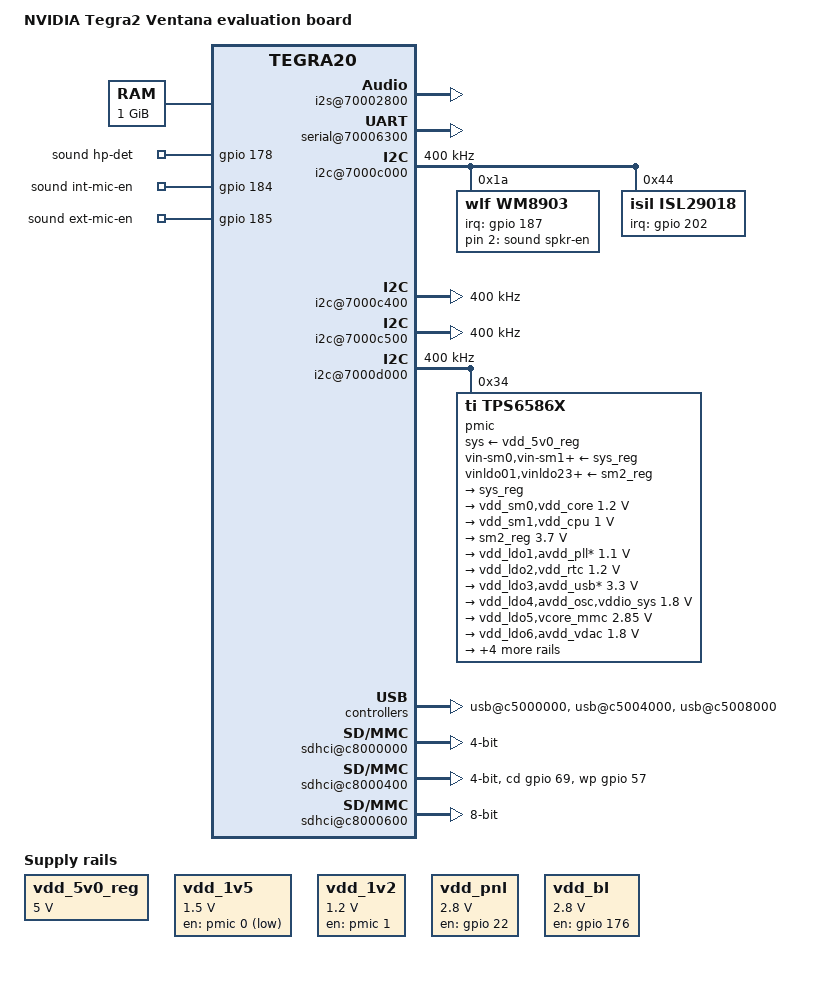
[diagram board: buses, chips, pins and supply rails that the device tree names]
/dts-v1/;

/include/ "tegra20.dtsi"

/ {
	model = "NVIDIA Tegra2 Ventana evaluation board";
	compatible = "nvidia,ventana", "nvidia,tegra20";

	memory {
		reg = <0x00000000 0x40000000>;
	};

	pinmux {
		pinctrl-names = "default";
		pinctrl-0 = <&state_default>;

		state_default: pinmux {
			ata {
				nvidia,pins = "ata";
				nvidia,function = "ide";
			};
			atb {
				nvidia,pins = "atb", "gma", "gme";
				nvidia,function = "sdio4";
			};
			atc {
				nvidia,pins = "atc";
				nvidia,function = "nand";
			};
			atd {
				nvidia,pins = "atd", "ate", "gmb", "spia",
					"spib", "spic";
				nvidia,function = "gmi";
			};
			cdev1 {
				nvidia,pins = "cdev1";
				nvidia,function = "plla_out";
			};
			cdev2 {
				nvidia,pins = "cdev2";
				nvidia,function = "pllp_out4";
			};
			crtp {
				nvidia,pins = "crtp", "lm1";
				nvidia,function = "crt";
			};
			csus {
				nvidia,pins = "csus";
				nvidia,function = "vi_sensor_clk";
			};
			dap1 {
				nvidia,pins = "dap1";
				nvidia,function = "dap1";
			};
			dap2 {
				nvidia,pins = "dap2";
				nvidia,function = "dap2";
			};
			dap3 {
				nvidia,pins = "dap3";
				nvidia,function = "dap3";
			};
			dap4 {
				nvidia,pins = "dap4";
				nvidia,function = "dap4";
			};
			ddc {
				nvidia,pins = "ddc", "owc", "spdi", "spdo",
					"uac";
				nvidia,function = "rsvd2";
			};
			dta {
				nvidia,pins = "dta", "dtb", "dtc", "dtd", "dte";
				nvidia,function = "vi";
			};
			dtf {
				nvidia,pins = "dtf";
				nvidia,function = "i2c3";
			};
			gmc {
				nvidia,pins = "gmc";
				nvidia,function = "uartd";
			};
			gmd {
				nvidia,pins = "gmd";
				nvidia,function = "sflash";
			};
			gpu {
				nvidia,pins = "gpu";
				nvidia,function = "pwm";
			};
			gpu7 {
				nvidia,pins = "gpu7";
				nvidia,function = "rtck";
			};
			gpv {
				nvidia,pins = "gpv", "slxa", "slxk";
				nvidia,function = "pcie";
			};
			hdint {
				nvidia,pins = "hdint", "pta";
				nvidia,function = "hdmi";
			};
			i2cp {
				nvidia,pins = "i2cp";
				nvidia,function = "i2cp";
			};
			irrx {
				nvidia,pins = "irrx", "irtx";
				nvidia,function = "uartb";
			};
			kbca {
				nvidia,pins = "kbca", "kbcb", "kbcc", "kbcd",
					"kbce", "kbcf";
				nvidia,function = "kbc";
			};
			lcsn {
				nvidia,pins = "lcsn", "ldc", "lm0", "lpw1",
					"lsdi", "lvp0";
				nvidia,function = "rsvd4";
			};
			ld0 {
				nvidia,pins = "ld0", "ld1", "ld2", "ld3", "ld4",
					"ld5", "ld6", "ld7", "ld8", "ld9",
					"ld10", "ld11", "ld12", "ld13", "ld14",
					"ld15", "ld16", "ld17", "ldi", "lhp0",
					"lhp1", "lhp2", "lhs", "lpp", "lpw0",
					"lpw2", "lsc0", "lsc1", "lsck", "lsda",
					"lspi", "lvp1", "lvs";
				nvidia,function = "displaya";
			};
			pmc {
				nvidia,pins = "pmc";
				nvidia,function = "pwr_on";
			};
			rm {
				nvidia,pins = "rm";
				nvidia,function = "i2c1";
			};
			sdb {
				nvidia,pins = "sdb", "sdc", "sdd", "slxc";
				nvidia,function = "sdio3";
			};
			sdio1 {
				nvidia,pins = "sdio1";
				nvidia,function = "sdio1";
			};
			slxd {
				nvidia,pins = "slxd";
				nvidia,function = "spdif";
			};
			spid {
				nvidia,pins = "spid", "spie", "spif";
				nvidia,function = "spi1";
			};
			spig {
				nvidia,pins = "spig", "spih";
				nvidia,function = "spi2_alt";
			};
			uaa {
				nvidia,pins = "uaa", "uab", "uda";
				nvidia,function = "ulpi";
			};
			uad {
				nvidia,pins = "uad";
				nvidia,function = "irda";
			};
			uca {
				nvidia,pins = "uca", "ucb";
				nvidia,function = "uartc";
			};
			conf_ata {
				nvidia,pins = "ata", "atb", "atc", "atd",
					"cdev1", "cdev2", "dap1", "dap2",
					"dap4", "ddc", "dtf", "gma", "gmc",
					"gme", "gpu", "gpu7", "i2cp", "irrx",
					"irtx", "pta", "rm", "sdc", "sdd",
					"slxc", "slxd", "slxk", "spdi", "spdo",
					"uac", "uad", "uca", "ucb", "uda";
				nvidia,pull = <0>;
				nvidia,tristate = <0>;
			};
			conf_ate {
				nvidia,pins = "ate", "csus", "dap3", "gmd",
					"gpv", "owc", "spia", "spib", "spic",
					"spid", "spie", "spig";
				nvidia,pull = <0>;
				nvidia,tristate = <1>;
			};
			conf_ck32 {
				nvidia,pins = "ck32", "ddrc", "pmca", "pmcb",
					"pmcc", "pmcd", "pmce", "xm2c", "xm2d";
				nvidia,pull = <0>;
			};
			conf_crtp {
				nvidia,pins = "crtp", "gmb", "slxa", "spih";
				nvidia,pull = <2>;
				nvidia,tristate = <1>;
			};
			conf_dta {
				nvidia,pins = "dta", "dtb", "dtc", "dtd";
				nvidia,pull = <1>;
				nvidia,tristate = <0>;
			};
			conf_dte {
				nvidia,pins = "dte", "spif";
				nvidia,pull = <1>;
				nvidia,tristate = <1>;
			};
			conf_hdint {
				nvidia,pins = "hdint", "lcsn", "ldc", "lm1",
					"lpw1", "lsck", "lsda", "lsdi", "lvp0";
				nvidia,tristate = <1>;
			};
			conf_kbca {
				nvidia,pins = "kbca", "kbcb", "kbcc", "kbcd",
					"kbce", "kbcf", "sdio1", "uaa", "uab";
				nvidia,pull = <2>;
				nvidia,tristate = <0>;
			};
			conf_lc {
				nvidia,pins = "lc", "ls";
				nvidia,pull = <2>;
			};
			conf_ld0 {
				nvidia,pins = "ld0", "ld1", "ld2", "ld3", "ld4",
					"ld5", "ld6", "ld7", "ld8", "ld9",
					"ld10", "ld11", "ld12", "ld13", "ld14",
					"ld15", "ld16", "ld17", "ldi", "lhp0",
					"lhp1", "lhp2", "lhs", "lm0", "lpp",
					"lpw0", "lpw2", "lsc0", "lsc1", "lspi",
					"lvp1", "lvs", "pmc", "sdb";
				nvidia,tristate = <0>;
			};
			conf_ld17_0 {
				nvidia,pins = "ld17_0", "ld19_18", "ld21_20",
					"ld23_22";
				nvidia,pull = <1>;
			};
			drive_sdio1 {
				nvidia,pins = "drive_sdio1";
				nvidia,high-speed-mode = <0>;
				nvidia,schmitt = <1>;
				nvidia,low-power-mode = <3>;
				nvidia,pull-down-strength = <31>;
				nvidia,pull-up-strength = <31>;
				nvidia,slew-rate-rising = <3>;
				nvidia,slew-rate-falling = <3>;
			};
		};
	};

	i2s@70002800 {
		status = "okay";
	};

	serial@70006300 {
		status = "okay";
		clock-frequency = <216000000>;
	};

	i2c@7000c000 {
		status = "okay";
		clock-frequency = <400000>;

		wm8903: wm8903@1a {
			compatible = "wlf,wm8903";
			reg = <0x1a>;
			interrupt-parent = <&gpio>;
			interrupts = <187 0x04>;

			gpio-controller;
			#gpio-cells = <2>;

			micdet-cfg = <0>;
			micdet-delay = <100>;
			gpio-cfg = <0xffffffff 0xffffffff 0 0xffffffff 0xffffffff>;
		};

		/* ALS and proximity sensor */
		isl29018@44 {
			compatible = "isil,isl29018";
			reg = <0x44>;
			interrupt-parent = <&gpio>;
			interrupts = <202 0x04>; /*gpio PZ2 */
		};
	};

	i2c@7000c400 {
		status = "okay";
		clock-frequency = <400000>;
	};

	i2c@7000c500 {
		status = "okay";
		clock-frequency = <400000>;
	};

	i2c@7000d000 {
		status = "okay";
		clock-frequency = <400000>;

		pmic: tps6586x@34 {
			compatible = "ti,tps6586x";
			reg = <0x34>;
			interrupts = <0 86 0x4>;

			ti,system-power-controller;

			#gpio-cells = <2>;
			gpio-controller;

			sys-supply = <&vdd_5v0_reg>;
			vin-sm0-supply = <&sys_reg>;
			vin-sm1-supply = <&sys_reg>;
			vin-sm2-supply = <&sys_reg>;
			vinldo01-supply = <&sm2_reg>;
			vinldo23-supply = <&sm2_reg>;
			vinldo4-supply = <&sm2_reg>;
			vinldo678-supply = <&sm2_reg>;
			vinldo9-supply = <&sm2_reg>;

			regulators {
				sys_reg: sys {
					regulator-name = "vdd_sys";
					regulator-always-on;
				};

				sm0 {
					regulator-name = "vdd_sm0,vdd_core";
					regulator-min-microvolt = <1200000>;
					regulator-max-microvolt = <1200000>;
					regulator-always-on;
				};

				sm1 {
					regulator-name = "vdd_sm1,vdd_cpu";
					regulator-min-microvolt = <1000000>;
					regulator-max-microvolt = <1000000>;
					regulator-always-on;
				};

				sm2_reg: sm2 {
					regulator-name = "vdd_sm2,vin_ldo*";
					regulator-min-microvolt = <3700000>;
					regulator-max-microvolt = <3700000>;
					regulator-always-on;
				};

				/* LDO0 is not connected to anything */

				ldo1 {
					regulator-name = "vdd_ldo1,avdd_pll*";
					regulator-min-microvolt = <1100000>;
					regulator-max-microvolt = <1100000>;
					regulator-always-on;
				};

				ldo2 {
					regulator-name = "vdd_ldo2,vdd_rtc";
					regulator-min-microvolt = <1200000>;
					regulator-max-microvolt = <1200000>;
				};

				ldo3 {
					regulator-name = "vdd_ldo3,avdd_usb*";
					regulator-min-microvolt = <3300000>;
					regulator-max-microvolt = <3300000>;
					regulator-always-on;
				};

				ldo4 {
					regulator-name = "vdd_ldo4,avdd_osc,vddio_sys";
					regulator-min-microvolt = <1800000>;
					regulator-max-microvolt = <1800000>;
					regulator-always-on;
				};

				ldo5 {
					regulator-name = "vdd_ldo5,vcore_mmc";
					regulator-min-microvolt = <2850000>;
					regulator-max-microvolt = <2850000>;
					regulator-always-on;
				};

				ldo6 {
					regulator-name = "vdd_ldo6,avdd_vdac";
					regulator-min-microvolt = <1800000>;
					regulator-max-microvolt = <1800000>;
				};

				ldo7 {
					regulator-name = "vdd_ldo7,avdd_hdmi,vdd_fuse";
					regulator-min-microvolt = <3300000>;
					regulator-max-microvolt = <3300000>;
				};

				ldo8 {
					regulator-name = "vdd_ldo8,avdd_hdmi_pll";
					regulator-min-microvolt = <1800000>;
					regulator-max-microvolt = <1800000>;
				};

				ldo9 {
					regulator-name = "vdd_ldo9,avdd_2v85,vdd_ddr_rx";
					regulator-min-microvolt = <2850000>;
					regulator-max-microvolt = <2850000>;
					regulator-always-on;
				};

				ldo_rtc {
					regulator-name = "vdd_rtc_out,vdd_cell";
					regulator-min-microvolt = <3300000>;
					regulator-max-microvolt = <3300000>;
					regulator-always-on;
				};
			};
		};
	};

	pmc {
		nvidia,invert-interrupt;
	};

	usb@c5000000 {
		status = "okay";
	};

	usb@c5004000 {
		status = "okay";
		nvidia,phy-reset-gpio = <&gpio 169 0>; /* gpio PV1 */
	};

	usb@c5008000 {
		status = "okay";
	};

	sdhci@c8000000 {
		status = "okay";
		power-gpios = <&gpio 86 0>; /* gpio PK6 */
		bus-width = <4>;
	};

	sdhci@c8000400 {
		status = "okay";
		cd-gpios = <&gpio 69 0>; /* gpio PI5 */
		wp-gpios = <&gpio 57 0>; /* gpio PH1 */
		power-gpios = <&gpio 70 0>; /* gpio PI6 */
		bus-width = <4>;
	};

	sdhci@c8000600 {
		status = "okay";
		bus-width = <8>;
	};

	regulators {
		compatible = "simple-bus";
		#address-cells = <1>;
		#size-cells = <0>;

		vdd_5v0_reg: regulator@0 {
			compatible = "regulator-fixed";
			reg = <0>;
			regulator-name = "vdd_5v0";
			regulator-min-microvolt = <5000000>;
			regulator-max-microvolt = <5000000>;
			regulator-always-on;
		};

		regulator@1 {
			compatible = "regulator-fixed";
			reg = <1>;
			regulator-name = "vdd_1v5";
			regulator-min-microvolt = <1500000>;
			regulator-max-microvolt = <1500000>;
			gpio = <&pmic 0 0>;
		};

		regulator@2 {
			compatible = "regulator-fixed";
			reg = <2>;
			regulator-name = "vdd_1v2";
			regulator-min-microvolt = <1200000>;
			regulator-max-microvolt = <1200000>;
			gpio = <&pmic 1 0>;
			enable-active-high;
		};

		regulator@3 {
			compatible = "regulator-fixed";
			reg = <3>;
			regulator-name = "vdd_pnl";
			regulator-min-microvolt = <2800000>;
			regulator-max-microvolt = <2800000>;
			gpio = <&gpio 22 0>; /* gpio PC6 */
			enable-active-high;
		};

		regulator@4 {
			compatible = "regulator-fixed";
			reg = <4>;
			regulator-name = "vdd_bl";
			regulator-min-microvolt = <2800000>;
			regulator-max-microvolt = <2800000>;
			gpio = <&gpio 176 0>; /* gpio PW0 */
			enable-active-high;
		};
	};

	sound {
		compatible = "nvidia,tegra-audio-wm8903-ventana",
			     "nvidia,tegra-audio-wm8903";
		nvidia,model = "NVIDIA Tegra Ventana";

		nvidia,audio-routing =
			"Headphone Jack", "HPOUTR",
			"Headphone Jack", "HPOUTL",
			"Int Spk", "ROP",
			"Int Spk", "RON",
			"Int Spk", "LOP",
			"Int Spk", "LON",
			"Mic Jack", "MICBIAS",
			"IN1L", "Mic Jack";

		nvidia,i2s-controller = <&tegra_i2s1>;
		nvidia,audio-codec = <&wm8903>;

		nvidia,spkr-en-gpios = <&wm8903 2 0>;
		nvidia,hp-det-gpios = <&gpio 178 0>; /* gpio PW2 */
		nvidia,int-mic-en-gpios = <&gpio 184 0>; /* gpio PX0 */
		nvidia,ext-mic-en-gpios = <&gpio 185 0>; /* gpio PX1 */
	};
};
